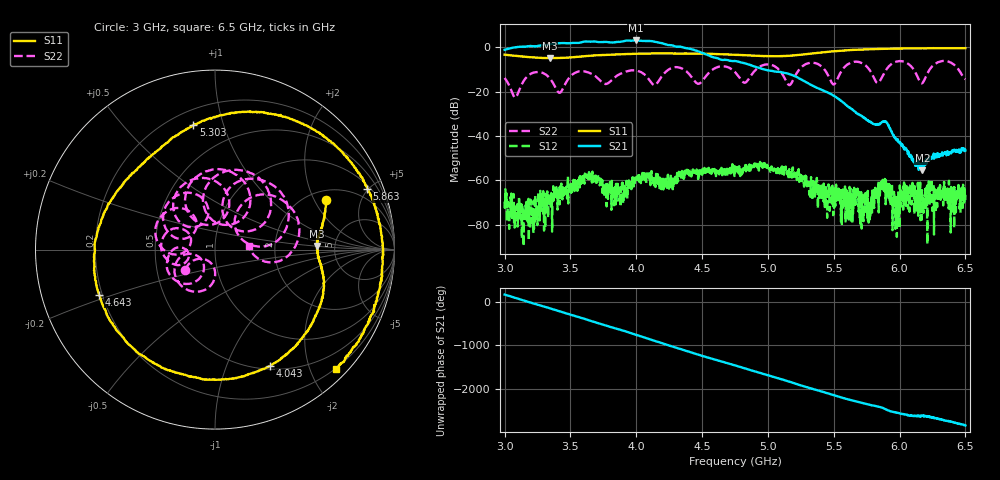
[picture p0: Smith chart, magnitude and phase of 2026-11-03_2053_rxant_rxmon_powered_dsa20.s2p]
! HEWLETT PACKARD,8720ES,MY41003347,7.72, via bringup/vna_tests.py
! rxant_rxmon_powered_dsa20
! measured 2026-11-03 20:54:16, 1601 points, 3000000000-6500000000 Hz, IF bandwidth 1000 Hz, source -40.00 dBm, kit CALK35MD
! board A, DSA 20.00 dB (set before each sweep)
# HZ S RI R 50
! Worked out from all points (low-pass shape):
!   1601 points, 3 GHz to 6.5 GHz, reference 50 ohm
!   highest |S21| = 3.02 dB at 3.995 GHz (marker M1); lowest = -55.5 dB at 6.174 GHz (marker M2)
!   |S21| within 3 dB of the highest: 3.089 GHz to 4.35 GHz (1.261 GHz wide, 33.9 % of centre)
!   lowest |S11| = -4.9 dB at 3.343 GHz (marker M3), VSWR 3.62, Z = 180 + j11 ohm
!   |S11| at or under -10 dB: nowhere
!   |S22| runs from -22.7 to -6.2 dB; largest |S21 - S12| = 1.4
!   S11 on the Smith chart (normalised r, x): 3 GHz: 2.45, +2.49; 4.043 GHz: 0.53, -1.44; 4.643 GHz: 0.19, -0.18; 5.303 GHz: 0.29, +0.80; 5.863 GHz: 1.22, +4.93; 6.5 GHz: 0.19, -2.44
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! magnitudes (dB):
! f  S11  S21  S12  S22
! 3 GHz  -3.4  -1.2  -69.5  -13.9
! 3.081 GHz  -3.9  0.0  -72.4  -22.7
! 3.343 GHz  -4.9  1.3  -67.2  -14.0
! 3.42 GHz  -4.8  1.8  -68.1  -20.5
! 3.584 GHz  -4.2  2.2  -59.0  -10.8
! 3.995 GHz  -3.0  3.0  -58.6  -10.5
! 4.043 GHz  -2.9  2.9  -58.0  -11.5
! 4.168 GHz  -2.8  2.1  -58.1  -15.4
! 4.643 GHz  -3.2  -5.6  -55.0  -8.6
! 4.75 GHz  -3.5  -6.2  -56.7  -11.2
! 5.021 GHz  -4.1  -10.6  -55.9  -7.9
! 5.163 GHz  -3.9  -12.1  -55.9  -17.1
! 5.303 GHz  -3.1  -16.2  -60.9  -7.3
! 5.334 GHz  -2.8  -17.1  -60.6  -7.0
! 5.498 GHz  -1.9  -21.8  -71.5  -16.8
! 5.774 GHz  -0.9  -33.6  -77.5  -10.4
! 5.863 GHz  -0.8  -33.9  -62.1  -13.8
! 5.918 GHz  -0.7  -35.5  -68.0  -8.6
! 5.982 GHz  -0.6  -41.7  -70.3  -6.4
! 6.174 GHz  -0.5  -55.5  -69.1  -16.1
! 6.329 GHz  -0.5  -47.9  -67.3  -6.2
! 6.5 GHz  -0.5  -46.5  -66.5  -14.4
